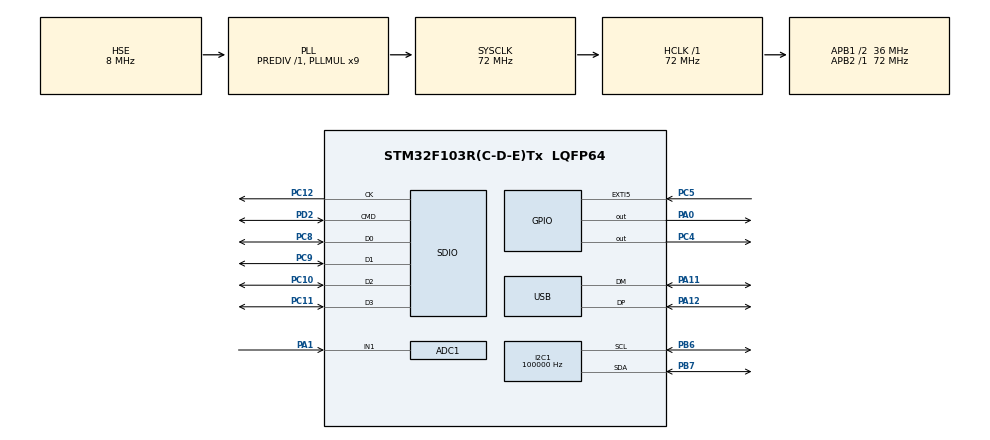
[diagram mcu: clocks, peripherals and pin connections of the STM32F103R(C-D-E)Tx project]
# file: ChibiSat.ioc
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ADC1.Channel-0\#ChannelRegularConversion=ADC_CHANNEL_1
ADC1.Channel-4\#ChannelRegularConversion=ADC_CHANNEL_TEMPSENSOR
ADC1.ContinuousConvMode=DISABLE
ADC1.DataAlign=ADC_DATAALIGN_RIGHT
ADC1.InjNumberOfConversion=0
ADC1.NbrOfConversion=2
ADC1.NbrOfConversionFlag=1
ADC1.Rank-0\#ChannelRegularConversion=1
ADC1.Rank-4\#ChannelRegularConversion=2
ADC1.SamplingTime-0\#ChannelRegularConversion=ADC_SAMPLETIME_239CYCLES_5
ADC1.SamplingTime-4\#ChannelRegularConversion=ADC_SAMPLETIME_239CYCLES_5
ADC1.master=1
Dma.ADC1.0.Direction=DMA_PERIPH_TO_MEMORY
Dma.ADC1.0.Instance=DMA1_Channel1
Dma.ADC1.0.MemDataAlignment=DMA_MDATAALIGN_HALFWORD
Dma.ADC1.0.MemInc=DMA_MINC_ENABLE
Dma.ADC1.0.Mode=DMA_NORMAL
Dma.ADC1.0.PeriphDataAlignment=DMA_PDATAALIGN_HALFWORD
Dma.ADC1.0.PeriphInc=DMA_PINC_DISABLE
Dma.ADC1.0.Priority=DMA_PRIORITY_LOW
Dma.Request0=ADC1
FATFS._MAX_SS=4096
FATFS._USE_FIND=1
I2C1.ClockSpeed=100000
I2C1.GeneralCallMode=I2C_GENERALCALL_DISABLE
I2C1.OwnAddress=0
Mcu.Family=STM32F1
Mcu.Name=STM32F103R(C-D-E)Tx
Mcu.Package=LQFP64
NVIC.DMA1_Channel1_IRQn=true\:0\:0\:false\:false\:true\:false\:true
NVIC.EXTI9_5_IRQn=true\:0\:0\:false\:false\:true\:true\:true
NVIC.I2C1_ER_IRQn=true\:0\:0\:false\:false\:true\:true\:true
NVIC.I2C1_EV_IRQn=true\:0\:0\:false\:false\:true\:true\:true
NVIC.PriorityGroup=NVIC_PRIORITYGROUP_4
NVIC.TIM6_IRQn=true\:0\:0\:false\:false\:true\:true\:true
NVIC.TIM7_IRQn=true\:0\:0\:false\:false\:true\:true\:true
NVIC.USB_LP_CAN1_RX0_IRQn=true\:0\:0\:false\:false\:true\:false\:true
PA0-WKUP.Signal=GPIO_Output
PA1.Signal=ADCx_IN1
PA11.Mode=Device
PA11.Signal=USB_DM
PA12.Mode=Device
PA12.Signal=USB_DP
PA13.Mode=Serial_Wire
PA13.Signal=SYS_JTMS-SWDIO
PA14.Mode=Serial_Wire
PA14.Signal=SYS_JTCK-SWCLK
PB6.Mode=I2C
PB6.Signal=I2C1_SCL
PB7.Mode=I2C
PB7.Signal=I2C1_SDA
PC10.Mode=SD_4_bits_Wide_bus
PC10.Signal=SDIO_D2
PC11.Mode=SD_4_bits_Wide_bus
PC11.Signal=SDIO_D3
PC12.Mode=SD_4_bits_Wide_bus
PC12.Signal=SDIO_CK
PC14-OSC32_IN.Mode=LSE-External-Oscillator
PC14-OSC32_IN.Signal=RCC_OSC32_IN
PC15-OSC32_OUT.Mode=LSE-External-Oscillator
PC15-OSC32_OUT.Signal=RCC_OSC32_OUT
PC4.Signal=GPIO_Output
PC5.Signal=GPXTI5
PC8.Mode=SD_4_bits_Wide_bus
PC8.Signal=SDIO_D0
PC9.Mode=SD_4_bits_Wide_bus
PC9.Signal=SDIO_D1
PD0-OSC_IN.Mode=HSE-External-Oscillator
PD0-OSC_IN.Signal=RCC_OSC_IN
PD1-OSC_OUT.Mode=HSE-External-Oscillator
PD1-OSC_OUT.Signal=RCC_OSC_OUT
PD2.Mode=SD_4_bits_Wide_bus
PD2.Signal=SDIO_CMD
ProjectManager.HeapSize=0x200
ProjectManager.StackSize=0x400
ProjectManager.TargetToolchain=MDK-ARM V5
RCC.ADCPresc=RCC_ADCPCLK2_DIV6
RCC.AHBFreq_Value=72000000
RCC.APB1CLKDivider=RCC_HCLK_DIV2
RCC.APB1Freq_Value=36000000
RCC.APB1TimFreq_Value=72000000
RCC.APB2Freq_Value=72000000
RCC.APB2TimFreq_Value=72000000
RCC.HCLKFreq_Value=72000000
RCC.PLLMUL=RCC_PLL_MUL9
RCC.PLLSourceVirtual=RCC_PLLSOURCE_HSE
RCC.SYSCLKFreq_VALUE=72000000
RCC.SYSCLKSource=RCC_SYSCLKSOURCE_PLLCLK
RCC.USBFreq_Value=48000000
RCC.USBPrescaler=RCC_USBCLKSOURCE_PLL_DIV1_5
SDIO.ClockBypass=SDIO_CLOCK_BYPASS_DISABLE
SDIO.ClockDiv=3
SH.ADCx_IN1.0=ADC1_IN1,IN1
TIM6.Period=100
TIM6.Prescaler=31999
TIM6.TIM_MasterOutputTrigger=TIM_TRGO_UPDATE
TIM7.Period=100
TIM7.Prescaler=31999
TIM7.TIM_MasterOutputTrigger=TIM_TRGO_UPDATE
USB_DEVICE.APP_RX_DATA_SIZE=1000
USB_DEVICE.CLASS_NAME_FS=CDC
USB_DEVICE.MANUFACTURER_STRING=NEBORON
USB_DEVICE.PRODUCT_STRING_CDC_FS=ChibiSat
USB_DEVICE.VirtualMode=Cdc
USB_DEVICE.VirtualModeFS=Cdc_FS
VP_ADC1_TempSens_Input.Mode=IN-TempSens
VP_FATFS_VS_SDIO.Mode=SDIO
VP_RTC_No_RTC_Output.Mode=RTC_OUT_NO
VP_RTC_VS_RTC_Activate.Mode=RTC_Enabled
VP_RTC_VS_RTC_Calendar.Mode=RTC_Calendar
VP_TIM6_VS_ClockSourceINT.Mode=Enable_Timer
VP_TIM7_VS_ClockSourceINT.Mode=Enable_Timer
VP_USB_DEVICE_VS_USB_DEVICE_CDC_FS.Mode=CDC_FS
board=custom

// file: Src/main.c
/* USER CODE BEGIN Header */
/**
  ******************************************************************************
  * @file           : main.c
  * @brief          : Main program body
  ******************************************************************************
  * @attention
  *
  * <h2><center>&copy; Copyright (c) 2019 STMicroelectronics.
  * All rights reserved.</center></h2>
  *
  * This software component is licensed by ST under BSD 3-Clause license,
  * the "License"; You may not use this file except in compliance with the
  * License. You may obtain a copy of the License at:
  *                        opensource.org/licenses/BSD-3-Clause
  *
  ******************************************************************************
  */
/* USER CODE END Header */

#include "main.h"
#include "fatfs.h"
#include "usb_device.h"

/* USER CODE BEGIN Includes */
#include "usbd_cdc_if.h"
#include "SerialCommand.h"
#include "bs.h"
#include "mpu.h"
/* USER CODE END Includes */

ADC_HandleTypeDef hadc1;
DMA_HandleTypeDef hdma_adc1;

I2C_HandleTypeDef hi2c1;

RTC_HandleTypeDef hrtc;

SD_HandleTypeDef hsd;

TIM_HandleTypeDef htim6;
TIM_HandleTypeDef htim7;

/* USER CODE BEGIN PV */
    Console_t Console;
    MPU60XX mpu1;
    MPU60XX_Result mpu1_result;

    volatile uint32_t debug_settings = 0;

    volatile uint32_t millis_counter = 0;

    FATFS fileSystem;
    FIL testFile;
    uint8_t testBuffer[16] = "SD write success";
    UINT testBytes;
    FRESULT res;

    uint16_t ADC_Data[2];

    volatile uint16_t adc_1[2] = {0,};
    char str_tx[32];
    char str_rx[32];
    uint8_t i=0;
/* USER CODE END PV */

void SystemClock_Config(void);
static void MX_GPIO_Init(void);
static void MX_DMA_Init(void);
static void MX_ADC1_Init(void);
static void MX_SDIO_SD_Init(void);
static void MX_RTC_Init(void);
static void MX_TIM6_Init(void);
static void MX_I2C1_Init(void);
static void MX_TIM7_Init(void);

/* USER CODE BEGIN 0 */

void PrintDebug()
{
    if(CHECKBIT(debug_settings, 31)) HAL_TIM_Base_Start_IT(&htim7);
    else HAL_TIM_Base_Stop_IT(&htim7);

    if(debug_settings & 0x01)
    {
        if(!CHECKBIT(debug_settings, 30)) PrintString(" accX = ");
        PrintInt(mpu1.Accelerometer_X);
        PrintString(" ");
    }

    if(debug_settings & 0x02)
    {
        if(!CHECKBIT(debug_settings, 30)) PrintString(" accY = ");
        PrintInt(mpu1.Accelerometer_Y);
        PrintString(" ");
    }

    if(debug_settings & 0x04)
    {
        if(!CHECKBIT(debug_settings, 30)) PrintString(" accZ = ");
        PrintInt(mpu1.Accelerometer_Z);
        PrintString(" ");
    }

    PrintString("\n");
    SerialSendHandlar();
}

// acc
int DoCmd1(int argc, char **argv)
{
    CLEARBIT(debug_settings, 31);
    for(uint16_t c; c <= argc; c++)
    {
        // continuous mode
        if(!strcmp(argv[c], "-c"))  debug_settings |= 0x80000000;
        //arduino plotter mode
        if(!strcmp(argv[c], "-ap")) debug_settings |= 0x40000000;
        if(!strcmp(argv[c], "-x"))  debug_settings |= 0x01;
        if(!strcmp(argv[c], "-y"))  debug_settings |= 0x02;
        if(!strcmp(argv[c], "-z"))  debug_settings |= 0x04;
    }

    PrintDebug();
    if(!CHECKBIT(debug_settings, 31)) debug_settings = 0;
    HAL_GPIO_TogglePin(GPIOA, GPIO_PIN_0);
    return 0;
}

// stop
int DoCmd2(int argc, char **argv)
{
    debug_settings &= ~0x8000FFFF;
}

// Set continuous mode frequency
int DoCmd3(int argc, char **argv)
{
    if(argc != 2) return -1;
    uint8_t cm_frq = atoi(argv[1]);
    if(cm_frq > 100) cm_frq = 100;
    if(cm_frq < 1) cm_frq = 1;

    HAL_TIM_Base_Stop_IT(&htim7);
    HAL_TIM_Base_Stop(&htim7);
    uint16_t period = SystemCoreClock / (cm_frq * TIM7->PSC);
    TIM7->ARR = period - 1;
    HAL_TIM_Base_Start_IT(&htim7);
    HAL_TIM_Base_Start(&htim7);
    return 0;
}

static const struct ConsoleCmd_t
    SysCmd[] =
    {
        { .cmd = "acc",        .doit = DoCmd1 },
		{ .cmd = "stop",       .doit = DoCmd2 },
		{ .cmd = "set_cm_frq", .doit = DoCmd3 }
    };

void HAL_ADC_ConvCpltCallback(ADC_HandleTypeDef* hadc)
{
//    if(hadc->Instance == ADC1)
//    {
//        HAL_ADC_Stop_DMA(&hadc1);
//        //TIM2->CCR1= adc_1[1]*10;
//        adc_1[0] = 0;
//        adc_1[1] = 0;
//        HAL_ADC_Start_DMA(&hadc1, (uint32_t*)&adc_1, 2);
//    }
}

void TIM6_SetFrq(uint16_t frq)
{
    HAL_TIM_Base_Stop_IT(&htim6);
    HAL_TIM_Base_Stop(&htim6);
    uint16_t period = SystemCoreClock / (frq * TIM6->PSC);
    TIM6->ARR = period - 1;
    HAL_TIM_Base_Start_IT(&htim6);
    HAL_TIM_Base_Start(&htim6);
}

int ReadSensors()
{
    if(mpu1_result == MPU60XX_Result_Ok) mpu1_result = MPU60XX_ReadAll(&hi2c1, &mpu1);
    else return -1;
}

/* USER CODE END 0 */

int main(void)
{

  /* MCU Configuration--------------------------------------------------------*/

  /* Reset of all peripherals, Initializes the Flash interface and the Systick. */
  HAL_Init();

  /* Configure the system clock */
  SystemClock_Config();

  /* Initialize all configured peripherals */
  MX_GPIO_Init();
  MX_DMA_Init();
  MX_ADC1_Init();
  MX_USB_DEVICE_Init();
  MX_SDIO_SD_Init();
  MX_FATFS_Init();
  MX_RTC_Init();
  MX_TIM6_Init();
  MX_I2C1_Init();
  MX_TIM7_Init();
  /* USER CODE BEGIN 2 */

    HAL_Delay(5);

    WakeUP();
    SysTick_Config(SystemCoreClock / 1000);
    HAL_ADCEx_Calibration_Start(&hadc1);
    HAL_ADC_Start_DMA(&hadc1, (uint32_t*)&adc_1, 2);

    //TIM6 is used to set sensors polling rate
    HAL_TIM_Base_Start_IT(&htim6);
    HAL_TIM_Base_Start(&htim6);
    TIM6_SetFrq(30);

    ConsoleInit(&Console, SysCmd, ARRAY_SIZE(SysCmd));
    mpu1_result = MPU60XX_Init(&hi2c1, &mpu1, MPU60XX_Device_0, MPU60XX_Accelerometer_16G, MPU60XX_Gyroscope_250s);
    mpu1_result = MPU60XX_ReadAll(&hi2c1, &mpu1);

    if(f_mount(&fileSystem, SDPath, 1) == FR_OK)
    {
        uint8_t path[13] = "testfile.txt";
        path[12] = '\0';

        res = f_open(&testFile, (char*)path, FA_WRITE | FA_CREATE_ALWAYS);

        res = f_write(&testFile, testBuffer, 16, &testBytes);

        res = f_close(&testFile);
    }
  /* USER CODE END 2 */

  /* Infinite loop */
  /* USER CODE BEGIN WHILE */
  while (1)
  {
//      HAL_ADC_Start(&hadc1);
//      HAL_ADC_PollForConversion(&hadc1, 100);
//      adc_1[0] = HAL_ADC_GetValue(&hadc1);
//      HAL_ADC_Stop(&hadc1);
//      PrintString("\nCHAN0\n");
//      PrintInt(adc_1[0]);
//      PrintString("\nCHAN1\n");
//      PrintInt(adc_1[1]);
//      PrintString("\nButton1\n");
//      PrintInt(HAL_GPIO_ReadPin(GPIOC, GPIO_PIN_5));
//      SerialSendHandlar();

      //SerialSendHandlar();
    /* USER CODE END WHILE */

  }
}

void SystemClock_Config(void)
{
  RCC_OscInitTypeDef RCC_OscInitStruct = {0};
  RCC_ClkInitTypeDef RCC_ClkInitStruct = {0};
  RCC_PeriphCLKInitTypeDef PeriphClkInit = {0};

  /** Initializes the CPU, AHB and APB busses clocks
  */
  RCC_OscInitStruct.OscillatorType = RCC_OSCILLATORTYPE_LSI|RCC_OSCILLATORTYPE_HSE;
  RCC_OscInitStruct.HSEState = RCC_HSE_ON;
  RCC_OscInitStruct.HSEPredivValue = RCC_HSE_PREDIV_DIV1;
  RCC_OscInitStruct.HSIState = RCC_HSI_ON;
  RCC_OscInitStruct.LSIState = RCC_LSI_ON;
  RCC_OscInitStruct.PLL.PLLState = RCC_PLL_ON;
  RCC_OscInitStruct.PLL.PLLSource = RCC_PLLSOURCE_HSE;
  RCC_OscInitStruct.PLL.PLLMUL = RCC_PLL_MUL9;
  if (HAL_RCC_OscConfig(&RCC_OscInitStruct) != HAL_OK)
  {
    Error_Handler();
  }
  /** Initializes the CPU, AHB and APB busses clocks
  */
  RCC_ClkInitStruct.ClockType = RCC_CLOCKTYPE_HCLK|RCC_CLOCKTYPE_SYSCLK
                              |RCC_CLOCKTYPE_PCLK1|RCC_CLOCKTYPE_PCLK2;
  RCC_ClkInitStruct.SYSCLKSource = RCC_SYSCLKSOURCE_PLLCLK;
  RCC_ClkInitStruct.AHBCLKDivider = RCC_SYSCLK_DIV1;
  RCC_ClkInitStruct.APB1CLKDivider = RCC_HCLK_DIV2;
  RCC_ClkInitStruct.APB2CLKDivider = RCC_HCLK_DIV1;

  if (HAL_RCC_ClockConfig(&RCC_ClkInitStruct, FLASH_LATENCY_2) != HAL_OK)
  {
    Error_Handler();
  }
  PeriphClkInit.PeriphClockSelection = RCC_PERIPHCLK_RTC|RCC_PERIPHCLK_ADC
                              |RCC_PERIPHCLK_USB;
  PeriphClkInit.RTCClockSelection = RCC_RTCCLKSOURCE_LSI;
  PeriphClkInit.AdcClockSelection = RCC_ADCPCLK2_DIV6;
  PeriphClkInit.UsbClockSelection = RCC_USBCLKSOURCE_PLL_DIV1_5;
  if (HAL_RCCEx_PeriphCLKConfig(&PeriphClkInit) != HAL_OK)
  {
    Error_Handler();
  }
}

static void MX_ADC1_Init(void)
{

  ADC_ChannelConfTypeDef sConfig = {0};

  /** Common config
  */
  hadc1.Instance = ADC1;
  hadc1.Init.ScanConvMode = ADC_SCAN_ENABLE;
  hadc1.Init.ContinuousConvMode = DISABLE;
  hadc1.Init.DiscontinuousConvMode = DISABLE;
  hadc1.Init.ExternalTrigConv = ADC_SOFTWARE_START;
  hadc1.Init.DataAlign = ADC_DATAALIGN_RIGHT;
  hadc1.Init.NbrOfConversion = 2;
  if (HAL_ADC_Init(&hadc1) != HAL_OK)
  {
    Error_Handler();
  }
  /** Configure Regular Channel
  */
  sConfig.Channel = ADC_CHANNEL_1;
  sConfig.Rank = ADC_REGULAR_RANK_1;
  sConfig.SamplingTime = ADC_SAMPLETIME_239CYCLES_5;
  if (HAL_ADC_ConfigChannel(&hadc1, &sConfig) != HAL_OK)
  {
    Error_Handler();
  }
  /** Configure Regular Channel
  */
  sConfig.Channel = ADC_CHANNEL_TEMPSENSOR;
  sConfig.Rank = ADC_REGULAR_RANK_2;
  if (HAL_ADC_ConfigChannel(&hadc1, &sConfig) != HAL_OK)
  {
    Error_Handler();
  }

}

static void MX_I2C1_Init(void)
{

  /* USER CODE BEGIN I2C1_Init 0 */
  __HAL_RCC_I2C1_CLK_ENABLE();
  __HAL_RCC_GPIOB_CLK_ENABLE();

  GPIO_InitTypeDef GPIO_InitStruct;
  GPIO_InitStruct.Pin   = GPIO_PIN_6 | GPIO_PIN_7;
  GPIO_InitStruct.Mode  = GPIO_MODE_AF_OD;
  GPIO_InitStruct.Pull  = GPIO_PULLUP;
  GPIO_InitStruct.Speed = GPIO_SPEED_FREQ_HIGH;
  HAL_GPIO_Init(GPIOB, &GPIO_InitStruct);
  /* USER CODE END I2C1_Init 0 */

  hi2c1.Instance = I2C1;
  hi2c1.Init.ClockSpeed = 100000;
  hi2c1.Init.DutyCycle = I2C_DUTYCYCLE_2;
  hi2c1.Init.OwnAddress1 = 0;
  hi2c1.Init.AddressingMode = I2C_ADDRESSINGMODE_7BIT;
  hi2c1.Init.DualAddressMode = I2C_DUALADDRESS_DISABLE;
  hi2c1.Init.OwnAddress2 = 0;
  hi2c1.Init.GeneralCallMode = I2C_GENERALCALL_DISABLE;
  hi2c1.Init.NoStretchMode = I2C_NOSTRETCH_DISABLE;
  if (HAL_I2C_Init(&hi2c1) != HAL_OK)
  {
    Error_Handler();
  }

}

static void MX_RTC_Init(void)
{

  RTC_TimeTypeDef sTime = {0};
  RTC_DateTypeDef DateToUpdate = {0};

  /** Initialize RTC Only
  */
  hrtc.Instance = RTC;
  hrtc.Init.AsynchPrediv = RTC_AUTO_1_SECOND;
  hrtc.Init.OutPut = RTC_OUTPUTSOURCE_NONE;
  if (HAL_RTC_Init(&hrtc) != HAL_OK)
  {
    Error_Handler();
  }

  /** Initialize RTC and set the Time and Date
  */
  sTime.Hours = 0x0;
  sTime.Minutes = 0x0;
  sTime.Seconds = 0x0;

  if (HAL_RTC_SetTime(&hrtc, &sTime, RTC_FORMAT_BCD) != HAL_OK)
  {
    Error_Handler();
  }
  DateToUpdate.WeekDay = RTC_WEEKDAY_MONDAY;
  DateToUpdate.Month = RTC_MONTH_JANUARY;
  DateToUpdate.Date = 0x1;
  DateToUpdate.Year = 0x0;

  if (HAL_RTC_SetDate(&hrtc, &DateToUpdate, RTC_FORMAT_BCD) != HAL_OK)
  {
    Error_Handler();
  }

}

static void MX_SDIO_SD_Init(void)
{

  hsd.Instance = SDIO;
  hsd.Init.ClockEdge = SDIO_CLOCK_EDGE_RISING;
  hsd.Init.ClockBypass = SDIO_CLOCK_BYPASS_DISABLE;
  hsd.Init.ClockPowerSave = SDIO_CLOCK_POWER_SAVE_DISABLE;
  hsd.Init.BusWide = SDIO_BUS_WIDE_1B;
  hsd.Init.HardwareFlowControl = SDIO_HARDWARE_FLOW_CONTROL_DISABLE;
  hsd.Init.ClockDiv = 3;

}

static void MX_TIM6_Init(void)
{

  TIM_MasterConfigTypeDef sMasterConfig = {0};

  htim6.Instance = TIM6;
  htim6.Init.Prescaler = 31999;
  htim6.Init.CounterMode = TIM_COUNTERMODE_UP;
  htim6.Init.Period = 100;
  htim6.Init.AutoReloadPreload = TIM_AUTORELOAD_PRELOAD_DISABLE;
  if (HAL_TIM_Base_Init(&htim6) != HAL_OK)
  {
    Error_Handler();
  }
  sMasterConfig.MasterOutputTrigger = TIM_TRGO_UPDATE;
  sMasterConfig.MasterSlaveMode = TIM_MASTERSLAVEMODE_DISABLE;
  if (HAL_TIMEx_MasterConfigSynchronization(&htim6, &sMasterConfig) != HAL_OK)
  {
    Error_Handler();
  }

}

static void MX_TIM7_Init(void)
{

  TIM_MasterConfigTypeDef sMasterConfig = {0};

  htim7.Instance = TIM7;
  htim7.Init.Prescaler = 31999;
  htim7.Init.CounterMode = TIM_COUNTERMODE_UP;
  htim7.Init.Period = 100;
  htim7.Init.AutoReloadPreload = TIM_AUTORELOAD_PRELOAD_DISABLE;
  if (HAL_TIM_Base_Init(&htim7) != HAL_OK)
  {
    Error_Handler();
  }
  sMasterConfig.MasterOutputTrigger = TIM_TRGO_UPDATE;
  sMasterConfig.MasterSlaveMode = TIM_MASTERSLAVEMODE_DISABLE;
  if (HAL_TIMEx_MasterConfigSynchronization(&htim7, &sMasterConfig) != HAL_OK)
  {
    Error_Handler();
  }

}

static void MX_DMA_Init(void)
{
  /* DMA controller clock enable */
  __HAL_RCC_DMA1_CLK_ENABLE();

  /* DMA interrupt init */
  /* DMA1_Channel1_IRQn interrupt configuration */
  HAL_NVIC_SetPriority(DMA1_Channel1_IRQn, 0, 0);
  HAL_NVIC_EnableIRQ(DMA1_Channel1_IRQn);

}

static void MX_GPIO_Init(void)
{
  GPIO_InitTypeDef GPIO_InitStruct = {0};

  /* GPIO Ports Clock Enable */
  __HAL_RCC_GPIOC_CLK_ENABLE();
  __HAL_RCC_GPIOD_CLK_ENABLE();
  __HAL_RCC_GPIOA_CLK_ENABLE();
  __HAL_RCC_GPIOB_CLK_ENABLE();

  /*Configure GPIO pin Output Level */
  HAL_GPIO_WritePin(GPIOA, GPIO_PIN_0, GPIO_PIN_RESET);

  /*Configure GPIO pin Output Level */
  HAL_GPIO_WritePin(GPIOC, GPIO_PIN_4, GPIO_PIN_RESET);

  /*Configure GPIO pin : PA0 */
  GPIO_InitStruct.Pin = GPIO_PIN_0;
  GPIO_InitStruct.Mode = GPIO_MODE_OUTPUT_PP;
  GPIO_InitStruct.Pull = GPIO_NOPULL;
  GPIO_InitStruct.Speed = GPIO_SPEED_FREQ_LOW;
  HAL_GPIO_Init(GPIOA, &GPIO_InitStruct);

  /*Configure GPIO pin : PC4 */
  GPIO_InitStruct.Pin = GPIO_PIN_4;
  GPIO_InitStruct.Mode = GPIO_MODE_OUTPUT_PP;
  GPIO_InitStruct.Pull = GPIO_NOPULL;
  GPIO_InitStruct.Speed = GPIO_SPEED_FREQ_LOW;
  HAL_GPIO_Init(GPIOC, &GPIO_InitStruct);

  /*Configure GPIO pin : PC5 */
  GPIO_InitStruct.Pin = GPIO_PIN_5;
  GPIO_InitStruct.Mode = GPIO_MODE_IT_RISING;
  GPIO_InitStruct.Pull = GPIO_NOPULL;
  HAL_GPIO_Init(GPIOC, &GPIO_InitStruct);

  /* EXTI interrupt init*/
  HAL_NVIC_SetPriority(EXTI9_5_IRQn, 0, 0);
  HAL_NVIC_EnableIRQ(EXTI9_5_IRQn);

}

/* USER CODE BEGIN 4 */

uint32_t millis()
{
  return millis_counter;
}

void HAL_GPIO_EXTI_Callback(uint16_t GPIO_Pin)
{
    if(GPIO_Pin== GPIO_PIN_5)
    {

    }
    else
    {
        __NOP();
    }
}
/* USER CODE END 4 */

void Error_Handler(void)
{
}

/************************ (C) COPYRIGHT STMicroelectronics *****END OF FILE****/
